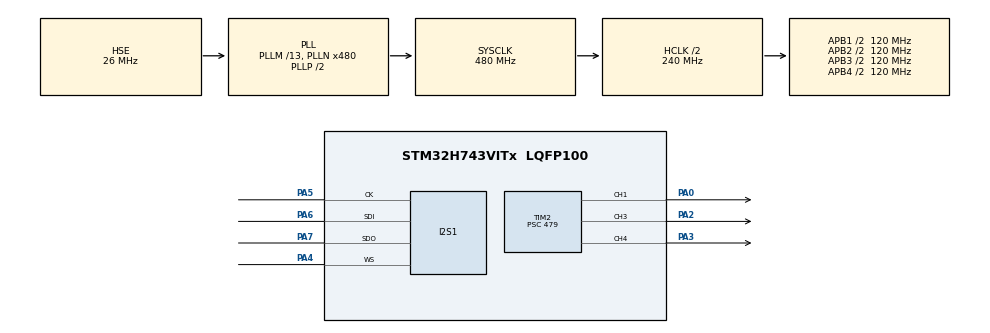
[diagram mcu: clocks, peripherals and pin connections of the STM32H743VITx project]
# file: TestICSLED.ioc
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CORTEX_M7.default_mode_Activation=1
Dma.Request0=SPI1_RX
Dma.SPI1_RX.0.Direction=DMA_PERIPH_TO_MEMORY
Dma.SPI1_RX.0.EventEnable=DISABLE
Dma.SPI1_RX.0.FIFOMode=DMA_FIFOMODE_DISABLE
Dma.SPI1_RX.0.Instance=DMA1_Stream0
Dma.SPI1_RX.0.MemDataAlignment=DMA_MDATAALIGN_HALFWORD
Dma.SPI1_RX.0.MemInc=DMA_MINC_ENABLE
Dma.SPI1_RX.0.Mode=DMA_CIRCULAR
Dma.SPI1_RX.0.PeriphDataAlignment=DMA_PDATAALIGN_HALFWORD
Dma.SPI1_RX.0.PeriphInc=DMA_PINC_DISABLE
Dma.SPI1_RX.0.Polarity=HAL_DMAMUX_REQ_GEN_RISING
Dma.SPI1_RX.0.Priority=DMA_PRIORITY_LOW
Dma.SPI1_RX.0.RequestNumber=1
Dma.SPI1_RX.0.SignalID=NONE
Dma.SPI1_RX.0.SyncEnable=DISABLE
Dma.SPI1_RX.0.SyncPolarity=HAL_DMAMUX_SYNC_NO_EVENT
Dma.SPI1_RX.0.SyncRequestNumber=1
Dma.SPI1_RX.0.SyncSignalID=NONE
I2S1.ErrorAudioFreq=-0.27 %
I2S1.Instance=SPI$Index
I2S1.RealAudioFreq=7.978 KHz
Mcu.Family=STM32H7
Mcu.Name=STM32H743VITx
Mcu.Package=LQFP100
NVIC.DMA1_Stream0_IRQn=true\:0\:0\:false\:false\:true\:false\:true\:true
NVIC.PriorityGroup=NVIC_PRIORITYGROUP_4
PA0.Signal=S_TIM2_CH1_ETR
PA2.Signal=S_TIM2_CH3
PA3.Signal=S_TIM2_CH4
PA4.Mode=Full_Duplex_Master
PA4.Signal=I2S1_WS
PA5.Mode=Full_Duplex_Master
PA5.Signal=I2S1_CK
PA6.Mode=Full_Duplex_Master
PA6.Signal=I2S1_SDI
PA7.Mode=Full_Duplex_Master
PA7.Signal=I2S1_SDO
PH0-OSC_IN\ (PH0).Mode=HSE-External-Oscillator
PH0-OSC_IN\ (PH0).Signal=RCC_OSC_IN
PH1-OSC_OUT\ (PH1).Mode=HSE-External-Oscillator
PH1-OSC_OUT\ (PH1).Signal=RCC_OSC_OUT
ProjectManager.HeapSize=0x200
ProjectManager.StackSize=0x400
ProjectManager.TargetToolchain=STM32CubeIDE
RCC.ADCFreq_Value=52406250
RCC.APB1Freq_Value=120000000
RCC.APB2Freq_Value=120000000
RCC.APB3Freq_Value=120000000
RCC.APB4Freq_Value=120000000
RCC.CortexFreq_Value=480000000
RCC.D1PPRE=RCC_APB3_DIV2
RCC.D2PPRE1=RCC_APB1_DIV2
RCC.D2PPRE2=RCC_APB2_DIV2
RCC.D3PPRE=RCC_APB4_DIV2
RCC.DIVM1=13
RCC.DIVN1=480
RCC.DIVQ1=20
RCC.HCLKFreq_Value=240000000
RCC.HPRE=RCC_HCLK_DIV2
RCC.HSE_VALUE=26000000
RCC.PLLFRACN=0
RCC.PLLSourceVirtual=RCC_PLLSOURCE_HSE
RCC.SYSCLKFreq_VALUE=480000000
RCC.SYSCLKSource=RCC_SYSCLKSOURCE_PLLCLK
RCC.USBFreq_Value=48000000
SH.S_TIM2_CH1_ETR.0=TIM2_CH1,PWM Generation1 CH1
SH.S_TIM2_CH3.0=TIM2_CH3,PWM Generation3 CH3
SH.S_TIM2_CH4.0=TIM2_CH4,Output Compare4 CH4
TIM2.Channel-Output\ Compare4\ CH4=TIM_CHANNEL_4
TIM2.Channel-PWM\ Generation1\ CH1=TIM_CHANNEL_1
TIM2.Channel-PWM\ Generation3\ CH3=TIM_CHANNEL_3
TIM2.Prescaler=479
VP_MEMORYMAP_VS_MEMORYMAP.Mode=CurAppReg
board=custom

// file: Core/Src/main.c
/* USER CODE BEGIN Header */
/*
  ******************************************************************************
  * @file           : main.c
  * @brief          : Main program body
  ******************************************************************************
  * @attention
  *
  * Copyright (c) 2025 STMicroelectronics.
  * All rights reserved.
  *
  * This software is licensed under terms that can be found in the LICENSE file
  * in the root directory of this software component.
  * If no LICENSE file comes with this software, it is provided AS-IS.
  *
  ******************************************************************************
  */
/* USER CODE END Header */
#include "main.h"

I2S_HandleTypeDef hi2s1;
DMA_HandleTypeDef hdma_spi1_rx;

TIM_HandleTypeDef htim2;

/* USER CODE BEGIN PV */
#define AUDIO_BUFFER_SIZE 512
int16_t audio_buffer[AUDIO_BUFFER_SIZE];

uint32_t audio_level = 0;
/* USER CODE END PV */

void SystemClock_Config(void);
static void MPU_Config(void);
static void MX_GPIO_Init(void);
static void MX_DMA_Init(void);
static void MX_I2S1_Init(void);
static void MX_TIM2_Init(void);

int main(void)
{

  /* MPU Configuration--------------------------------------------------------*/
  MPU_Config();

  /* MCU Configuration--------------------------------------------------------*/

  /* Reset of all peripherals, Initializes the Flash interface and the Systick. */
  HAL_Init();

  /* Configure the system clock */
  SystemClock_Config();

  /* Initialize all configured peripherals */
  MX_GPIO_Init();
  MX_DMA_Init();
  MX_I2S1_Init();
  MX_TIM2_Init();
  /* USER CODE BEGIN 2 */
  HAL_TIM_PWM_Start(&htim2, TIM_CHANNEL_1);
  HAL_TIM_PWM_Start(&htim2, TIM_CHANNEL_3);
  HAL_TIM_PWM_Start(&htim2, TIM_CHANNEL_4);

  if (HAL_I2S_Receive_DMA(&hi2s1, (uint16_t *)audio_buffer, AUDIO_BUFFER_SIZE) != HAL_OK)
  {
      Error_Handler();
  }
  /* USER CODE END 2 */

  /* Infinite loop */
  /* USER CODE BEGIN WHILE */
  /* USER CODE BEGIN WHILE */
  while (1)
  {
      // ---- Đổi kênh SEL ----

      // ---- Tính mức âm thanh ----
      uint64_t sum = 0;
      for (int i = 0; i < AUDIO_BUFFER_SIZE; i++)
          sum += abs(audio_buffer[i]);
      audio_level = sum / AUDIO_BUFFER_SIZE;

      if (audio_level > 1000) audio_level = 1000;
// ---- LED RGB theo mức âm ----
      if (audio_level < 10)
      {
          __HAL_TIM_SET_COMPARE(&htim2, TIM_CHANNEL_1, 0);
          __HAL_TIM_SET_COMPARE(&htim2, TIM_CHANNEL_3, 0);
          __HAL_TIM_SET_COMPARE(&htim2, TIM_CHANNEL_4, audio_level);
      }
      else if (audio_level < 100)
      {
          __HAL_TIM_SET_COMPARE(&htim2, TIM_CHANNEL_1, audio_level / 2);
          __HAL_TIM_SET_COMPARE(&htim2, TIM_CHANNEL_3, 0);
          __HAL_TIM_SET_COMPARE(&htim2, TIM_CHANNEL_4, audio_level / 2);
      }
      else
      {
          __HAL_TIM_SET_COMPARE(&htim2, TIM_CHANNEL_1, audio_level);
          __HAL_TIM_SET_COMPARE(&htim2, TIM_CHANNEL_3, 0);
          __HAL_TIM_SET_COMPARE(&htim2, TIM_CHANNEL_4, 0);
      }

      HAL_Delay(50);
  }

    /* USER CODE END WHILE */

}

void SystemClock_Config(void)
{
  RCC_OscInitTypeDef RCC_OscInitStruct = {0};
  RCC_ClkInitTypeDef RCC_ClkInitStruct = {0};

  /** Supply configuration update enable
  */
  HAL_PWREx_ConfigSupply(PWR_LDO_SUPPLY);

  /** Configure the main internal regulator output voltage
  */
  __HAL_PWR_VOLTAGESCALING_CONFIG(PWR_REGULATOR_VOLTAGE_SCALE0);

  while(!__HAL_PWR_GET_FLAG(PWR_FLAG_VOSRDY)) {}

  /** Initializes the RCC Oscillators according to the specified parameters
  * in the RCC_OscInitTypeDef structure.
  */
  RCC_OscInitStruct.OscillatorType = RCC_OSCILLATORTYPE_HSE;
  RCC_OscInitStruct.HSEState = RCC_HSE_ON;
  RCC_OscInitStruct.PLL.PLLState = RCC_PLL_ON;
  RCC_OscInitStruct.PLL.PLLSource = RCC_PLLSOURCE_HSE;
  RCC_OscInitStruct.PLL.PLLM = 13;
  RCC_OscInitStruct.PLL.PLLN = 480;
  RCC_OscInitStruct.PLL.PLLP = 2;
  RCC_OscInitStruct.PLL.PLLQ = 20;
  RCC_OscInitStruct.PLL.PLLR = 2;
  RCC_OscInitStruct.PLL.PLLRGE = RCC_PLL1VCIRANGE_1;
  RCC_OscInitStruct.PLL.PLLVCOSEL = RCC_PLL1VCOWIDE;
  RCC_OscInitStruct.PLL.PLLFRACN = 0;
  if (HAL_RCC_OscConfig(&RCC_OscInitStruct) != HAL_OK)
  {
    Error_Handler();
  }

  /** Initializes the CPU, AHB and APB buses clocks
  */
  RCC_ClkInitStruct.ClockType = RCC_CLOCKTYPE_HCLK|RCC_CLOCKTYPE_SYSCLK
                              |RCC_CLOCKTYPE_PCLK1|RCC_CLOCKTYPE_PCLK2
                              |RCC_CLOCKTYPE_D3PCLK1|RCC_CLOCKTYPE_D1PCLK1;
  RCC_ClkInitStruct.SYSCLKSource = RCC_SYSCLKSOURCE_PLLCLK;
  RCC_ClkInitStruct.SYSCLKDivider = RCC_SYSCLK_DIV1;
  RCC_ClkInitStruct.AHBCLKDivider = RCC_HCLK_DIV2;
  RCC_ClkInitStruct.APB3CLKDivider = RCC_APB3_DIV2;
  RCC_ClkInitStruct.APB1CLKDivider = RCC_APB1_DIV2;
  RCC_ClkInitStruct.APB2CLKDivider = RCC_APB2_DIV2;
  RCC_ClkInitStruct.APB4CLKDivider = RCC_APB4_DIV2;

  if (HAL_RCC_ClockConfig(&RCC_ClkInitStruct, FLASH_LATENCY_4) != HAL_OK)
  {
    Error_Handler();
  }
}

static void MX_I2S1_Init(void)
{

  hi2s1.Instance = SPI1;
  hi2s1.Init.Mode = I2S_MODE_MASTER_FULLDUPLEX;
  hi2s1.Init.Standard = I2S_STANDARD_PHILIPS;
  hi2s1.Init.DataFormat = I2S_DATAFORMAT_16B;
  hi2s1.Init.MCLKOutput = I2S_MCLKOUTPUT_DISABLE;
  hi2s1.Init.AudioFreq = I2S_AUDIOFREQ_8K;
  hi2s1.Init.CPOL = I2S_CPOL_LOW;
  hi2s1.Init.FirstBit = I2S_FIRSTBIT_MSB;
  hi2s1.Init.WSInversion = I2S_WS_INVERSION_DISABLE;
  hi2s1.Init.Data24BitAlignment = I2S_DATA_24BIT_ALIGNMENT_RIGHT;
  hi2s1.Init.MasterKeepIOState = I2S_MASTER_KEEP_IO_STATE_DISABLE;
  if (HAL_I2S_Init(&hi2s1) != HAL_OK)
  {
    Error_Handler();
  }

}

static void MX_TIM2_Init(void)
{

  TIM_MasterConfigTypeDef sMasterConfig = {0};
  TIM_OC_InitTypeDef sConfigOC = {0};

  htim2.Instance = TIM2;
  htim2.Init.Prescaler = 479;
  htim2.Init.CounterMode = TIM_COUNTERMODE_UP;
  htim2.Init.Period = 4294967295;
  htim2.Init.ClockDivision = TIM_CLOCKDIVISION_DIV1;
  htim2.Init.AutoReloadPreload = TIM_AUTORELOAD_PRELOAD_DISABLE;
  if (HAL_TIM_PWM_Init(&htim2) != HAL_OK)
  {
    Error_Handler();
  }
  if (HAL_TIM_OC_Init(&htim2) != HAL_OK)
  {
    Error_Handler();
  }
  sMasterConfig.MasterOutputTrigger = TIM_TRGO_RESET;
  sMasterConfig.MasterSlaveMode = TIM_MASTERSLAVEMODE_DISABLE;
  if (HAL_TIMEx_MasterConfigSynchronization(&htim2, &sMasterConfig) != HAL_OK)
  {
    Error_Handler();
  }
  sConfigOC.OCMode = TIM_OCMODE_PWM1;
  sConfigOC.Pulse = 0;
  sConfigOC.OCPolarity = TIM_OCPOLARITY_HIGH;
  sConfigOC.OCFastMode = TIM_OCFAST_DISABLE;
  if (HAL_TIM_PWM_ConfigChannel(&htim2, &sConfigOC, TIM_CHANNEL_1) != HAL_OK)
  {
    Error_Handler();
  }
  if (HAL_TIM_PWM_ConfigChannel(&htim2, &sConfigOC, TIM_CHANNEL_3) != HAL_OK)
  {
    Error_Handler();
  }
  sConfigOC.OCMode = TIM_OCMODE_TIMING;
  if (HAL_TIM_OC_ConfigChannel(&htim2, &sConfigOC, TIM_CHANNEL_4) != HAL_OK)
  {
    Error_Handler();
  }
  HAL_TIM_MspPostInit(&htim2);

}

static void MX_DMA_Init(void)
{

  /* DMA controller clock enable */
  __HAL_RCC_DMA1_CLK_ENABLE();

  /* DMA interrupt init */
  /* DMA1_Stream0_IRQn interrupt configuration */
  HAL_NVIC_SetPriority(DMA1_Stream0_IRQn, 0, 0);
  HAL_NVIC_EnableIRQ(DMA1_Stream0_IRQn);

}

static void MX_GPIO_Init(void)
{

  /* GPIO Ports Clock Enable */
  __HAL_RCC_GPIOH_CLK_ENABLE();
  __HAL_RCC_GPIOA_CLK_ENABLE();

}

 /* MPU Configuration */

void MPU_Config(void)
{
  MPU_Region_InitTypeDef MPU_InitStruct = {0};

  /* Disables the MPU */
  HAL_MPU_Disable();

  /** Initializes and configures the Region and the memory to be protected
  */
  MPU_InitStruct.Enable = MPU_REGION_ENABLE;
  MPU_InitStruct.Number = MPU_REGION_NUMBER0;
  MPU_InitStruct.BaseAddress = 0x0;
  MPU_InitStruct.Size = MPU_REGION_SIZE_4GB;
  MPU_InitStruct.SubRegionDisable = 0x87;
  MPU_InitStruct.TypeExtField = MPU_TEX_LEVEL0;
  MPU_InitStruct.AccessPermission = MPU_REGION_NO_ACCESS;
  MPU_InitStruct.DisableExec = MPU_INSTRUCTION_ACCESS_DISABLE;
  MPU_InitStruct.IsShareable = MPU_ACCESS_SHAREABLE;
  MPU_InitStruct.IsCacheable = MPU_ACCESS_NOT_CACHEABLE;
  MPU_InitStruct.IsBufferable = MPU_ACCESS_NOT_BUFFERABLE;

  HAL_MPU_ConfigRegion(&MPU_InitStruct);
  /* Enables the MPU */
  HAL_MPU_Enable(MPU_PRIVILEGED_DEFAULT);

}

void Error_Handler(void)
{
  __disable_irq();
  while (1)
  {
  }
}
